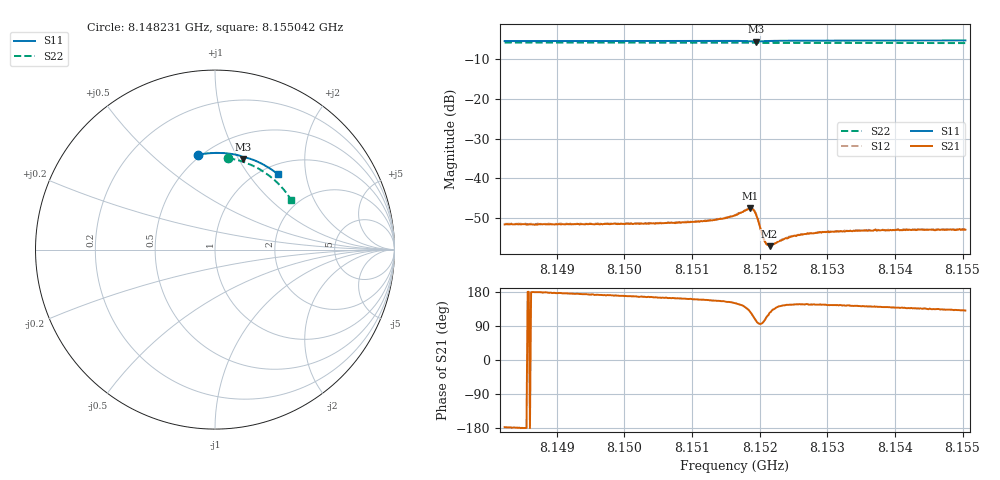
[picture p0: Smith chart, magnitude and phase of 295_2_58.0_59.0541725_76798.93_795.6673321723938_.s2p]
#  HZ  S  RI  R  50.00
! Rohde & Schwarz Vector Network Analyzer
! Rohde-Schwarz,ZNB20-2Port,1311601062101988,3.16
! Created: UTC 3/21/2024, 1:03:27 AM
! freq[Hz]  re:S11  im:S11  re:S21  im:S21  re:S12  im:S12  re:S22  im:S22
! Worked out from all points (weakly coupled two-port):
!   401 points, 8.148231 GHz to 8.155042 GHz, reference 50 ohm
!   highest |S21| = -47.59 dB at 8.151858 GHz (marker M1); lowest = -57.1 dB at 8.152147 GHz (marker M2)
!   lowest |S11| = -5.5 dB at 8.151943 GHz (marker M3), VSWR 3.25, Z = 37.2 + j52.3 ohm
!   |S11| at or under -10 dB: nowhere
!   |S22| runs from -5.9 to -5.8 dB; largest |S21 - S12| = 0.00011
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8.1482311e9  -0.0937 0.5283  -0.00262 -0.000121  -0.00266 -7.44e-05  0.0736 0.5099
8.1493719e9  -0.0147 0.5383  -0.00263 0.000289  -0.00265 0.000311  0.1461 0.4929
8.1505127e9  0.0647 0.5364  -0.00261 0.00072  -0.00263 0.000754  0.2147 0.4657
8.1511427e9  0.1087 0.5302  -0.0027 0.00103  -0.00268 0.00104  0.2507 0.4465
8.1515003e9  0.1343 0.5242  -0.00284 0.00139  -0.00285 0.00144  0.2702 0.4343
8.1516365e9  0.1443 0.5208  -0.00294 0.00171  -0.00294 0.00175  0.2775 0.4295
8.1518579e9  0.1588 0.5094  -0.00255 0.0033  -0.00254 0.00334  0.2891 0.4211
8.151909e9  0.1584 0.5061  -0.00167 0.00365  -0.00163 0.00372  0.2915 0.4191
8.151943e9  0.1571 0.5057  -0.00091 0.00346  -0.000875 0.00354  0.2932 0.4178
8.1519771e9  0.1562 0.5069  -0.00038 0.00296  -0.000313 0.00297  0.2948 0.4168
8.1520282e9  0.158 0.5099  -0.000218 0.00208  -0.000183 0.00208  0.2974 0.415
8.1520622e9  0.1605 0.5114  -0.000351 0.00168  -0.000332 0.0017  0.2991 0.4137
8.1520963e9  0.1634 0.5121  -0.000551 0.0014  -0.000518 0.00143  0.3011 0.4125
8.1521133e9  0.1649 0.5124  -0.000631 0.00131  -0.000575 0.0013  0.3019 0.4118
8.1521473e9  0.1679 0.5125  -0.000789 0.00115  -0.000767 0.0012  0.3037 0.4104
8.1521814e9  0.1707 0.5124  -0.000929 0.00109  -0.000924 0.0011  0.3054 0.4092
8.1523687e9  0.1852 0.5096  -0.00141 0.00101  -0.00142 0.00103  0.3149 0.4017
8.1524709e9  0.1925 0.5073  -0.00153 0.00103  -0.00153 0.00104  0.3199 0.3976
8.1527773e9  0.2132 0.4999  -0.00168 0.00113  -0.00169 0.00113  0.3348 0.3845
8.1531179e9  0.2355 0.4906  -0.00175 0.00122  -0.00175 0.00124  0.3505 0.3697
8.1539182e9  0.2848 0.4651  -0.00168 0.00144  -0.00166 0.00151  0.3847 0.3322
8.1550419e9  0.3488 0.4212  -0.00146 0.00171  -0.00149 0.00175  0.4259 0.2743
